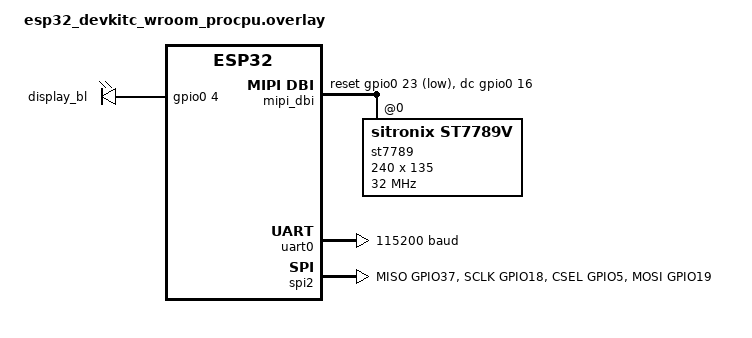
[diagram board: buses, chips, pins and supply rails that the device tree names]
#include <zephyr/dt-bindings/mipi_dbi/mipi_dbi.h>
#include <zephyr/dt-bindings/pinctrl/esp32-pinctrl.h>

/{
	aliases 
	{
		display-ctrl = &st7789;
	};

	leds
	{
		compatible = "gpio-leds";
		display_bl: display_bl_node 
		{
			gpios = <&gpio0 4 GPIO_ACTIVE_HIGH>;
		};
	};

	mipi_dbi
	{
		compatible = "zephyr,mipi-dbi-spi";
		reset-gpios = <&gpio0 23 GPIO_ACTIVE_LOW>;
		dc-gpios = <&gpio0 16 GPIO_ACTIVE_HIGH>;
		spi-dev = <&spi2>;
		#address-cells = <1>;
		#size-cells = <0>;

		st7789: st7789@0 
		{
			compatible = "sitronix,st7789v";
			reg = <0>;
			mipi-max-frequency = <32000000>;
			mipi-mode = "MIPI_DBI_MODE_SPI_4WIRE";

			height = <135>;
			width = <240>;
			x-offset = <40>;
			y-offset = <52>;
			mdac = <0xa0>;

			vcom = <0x19>;
			gctrl = <0x35>;
			vrhs = <0x12>;
			vdvs = <0x20>;
			// inversion-off;
			gamma = <0x01>;
			colmod = <0x55>;
			lcm = <0x2c>;
			porch-param = [ 0c 0c 00 33 33  ];
			cmd2en-param = [ 5a 69 02 01  ];
			pwctrl1-param = [ a4 a1  ];
			pvgam-param = [ D0 04 0D 11 13 2B 3F 54 4C 18 0D 0B 1F 23  ];
			nvgam-param = [ D0 04 0C 11 13 2C 3F 44 51 2F 1F 1F 20 23  ];
			ram-param = [ 00 F8  ];
			rgb-param = [ CD 08 14  ];
		};
	};
};

/delete-node/ &slot0_appcpu_partition;
/delete-node/ &slot1_partition;
/delete-node/ &slot1_appcpu_partition;
/delete-node/ &storage_partition;
/delete-node/ &scratch_partition;
/delete-node/ &coredump_partition;
&flash0
{
	reg = <0x0 DT_SIZE_M(16)>; //address, size(16MB)

	partitions
	{
		slot0_partition: partition@20000
		{
			label = "image-0";
			reg = < 0x20000 DT_SIZE_K(512) >;
			read-only;
		};
		cache_partition: partition@a0000
		{
			label = "cache-partition";
			reg = < 0xa0000 DT_SIZE_K(128) >;
		};
		game_settings_partition: partition@c0000
		{
			label = "game-settings-partition";
			reg = < 0xc0000 0x1000 >;
		};
		game_saves_partition: partition@c1000
		{
			label = "game-saves-partition";
			reg = < 0xc1000 0x1000 >;
		};
		wad_partition: partition@c2000
		{
			label = "wad-partition";
			reg = < 0xc2000 (DT_SIZE_M(16) - 0xc2000) >;
			read-only;
		};
	};
};

&uart0
{
	status = "okay";
	current-speed = <115200>;
};

&pinctrl
{
	spim2_default: spim2_default 
	{
		group1 
		{
			pinmux = <SPIM2_MISO_GPIO37>, //miso is not used so put it on some not used pin
			         <SPIM2_SCLK_GPIO18>,
			         <SPIM2_CSEL_GPIO5>;
		};
		group2 
		{
			pinmux = <SPIM2_MOSI_GPIO19>;
			output-low;
		};
	};
};

&spi2 {
	status = "okay";
	pinctrl-0 = <&spim2_default>;
	pinctrl-names = "default";
	dma-enabled;
};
